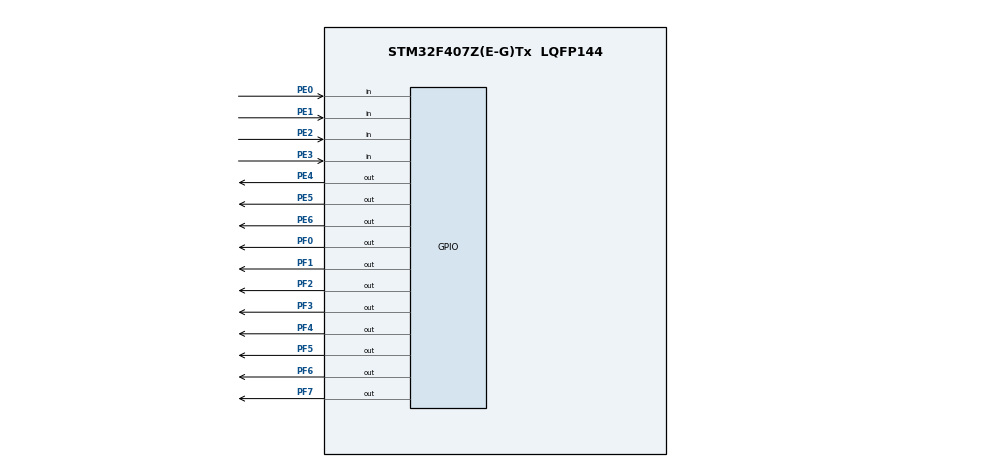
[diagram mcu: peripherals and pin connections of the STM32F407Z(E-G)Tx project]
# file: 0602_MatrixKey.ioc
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Mcu.Family=STM32F4
Mcu.Name=STM32F407Z(E-G)Tx
Mcu.Package=LQFP144
NVIC.PriorityGroup=NVIC_PRIORITYGROUP_4
PA13.Mode=Serial_Wire
PA13.Signal=SYS_JTMS-SWDIO
PA14.Mode=Serial_Wire
PA14.Signal=SYS_JTCK-SWCLK
PE0.GPIO_PuPd=GPIO_PULLUP
PE0.Signal=GPIO_Input
PE1.GPIO_PuPd=GPIO_PULLUP
PE1.Signal=GPIO_Input
PE2.GPIO_PuPd=GPIO_PULLUP
PE2.Signal=GPIO_Input
PE3.GPIO_PuPd=GPIO_PULLUP
PE3.Signal=GPIO_Input
PE4.PinState=GPIO_PIN_SET
PE4.Signal=GPIO_Output
PE5.PinState=GPIO_PIN_SET
PE5.Signal=GPIO_Output
PE6.PinState=GPIO_PIN_SET
PE6.Signal=GPIO_Output
PF0.PinState=GPIO_PIN_SET
PF0.Signal=GPIO_Output
PF1.PinState=GPIO_PIN_SET
PF1.Signal=GPIO_Output
PF2.PinState=GPIO_PIN_SET
PF2.Signal=GPIO_Output
PF3.PinState=GPIO_PIN_SET
PF3.Signal=GPIO_Output
PF4.PinState=GPIO_PIN_SET
PF4.Signal=GPIO_Output
PF5.PinState=GPIO_PIN_SET
PF5.Signal=GPIO_Output
PF6.PinState=GPIO_PIN_SET
PF6.Signal=GPIO_Output
PF7.PinState=GPIO_PIN_SET
PF7.Signal=GPIO_Output
PH0-OSC_IN.Mode=HSE-External-Oscillator
PH0-OSC_IN.Signal=RCC_OSC_IN
PH1-OSC_OUT.Mode=HSE-External-Oscillator
PH1-OSC_OUT.Signal=RCC_OSC_OUT
ProjectManager.HeapSize=0x200
ProjectManager.StackSize=0x400
ProjectManager.TargetToolchain=STM32CubeIDE
RCC.48MHZClocksFreq_Value=84000000
RCC.AHBFreq_Value=168000000
RCC.APB1CLKDivider=RCC_HCLK_DIV4
RCC.APB1Freq_Value=42000000
RCC.APB1TimFreq_Value=84000000
RCC.APB2CLKDivider=RCC_HCLK_DIV4
RCC.APB2Freq_Value=42000000
RCC.APB2TimFreq_Value=84000000
RCC.CortexFreq_Value=168000000
RCC.HCLKFreq_Value=168000000
RCC.HSE_VALUE=8000000
RCC.HSI_VALUE=16000000
RCC.LSE_VALUE=32768
RCC.PLLM=8
RCC.PLLN=336
RCC.PLLSourceVirtual=RCC_PLLSOURCE_HSE
RCC.SYSCLKFreq_VALUE=168000000
RCC.SYSCLKSource=RCC_SYSCLKSOURCE_PLLCLK
RCC.VCOOutputFreq_Value=336000000
board=custom

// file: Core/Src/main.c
/* USER CODE BEGIN Header */
/**
 ******************************************************************************
 * @file           : main.c
 * @brief          : Main program body
 ******************************************************************************
 * @attention
 *
 * Copyright (c) 2026 STMicroelectronics.
 * All rights reserved.
 *
 * This software is licensed under terms that can be found in the LICENSE file
 * in the root directory of this software component.
 * If no LICENSE file comes with this software, it is provided AS-IS.
 *
 ******************************************************************************
 */
/* USER CODE END Header */
#include "main.h"
#include "gpio.h"

void SystemClock_Config(void);

int main(void) {

	/* MCU Configuration--------------------------------------------------------*/

	/* Reset of all peripherals, Initializes the Flash interface and the Systick. */
	HAL_Init();

	/* Configure the system clock */
	SystemClock_Config();

	/* Initialize all configured peripherals */
	MX_GPIO_Init();
	/* USER CODE BEGIN 2 */
	uint8_t KeyScan(void) {
		uint8_t key = 0xFF;
		//第0行 PE4
		HAL_GPIO_WritePin(GPIOE, GPIO_PIN_4, GPIO_PIN_RESET);
		if (HAL_GPIO_ReadPin(GPIOE, GPIO_PIN_0) == GPIO_PIN_RESET) {
			HAL_Delay(20);
			if (HAL_GPIO_ReadPin(GPIOE, GPIO_PIN_0) == GPIO_PIN_RESET) {
				key = 0;
				while (HAL_GPIO_ReadPin(GPIOE, GPIO_PIN_0) == GPIO_PIN_RESET)
					;
			}
		}
		if (HAL_GPIO_ReadPin(GPIOE, GPIO_PIN_1) == GPIO_PIN_RESET) {
			HAL_Delay(20);
			if (HAL_GPIO_ReadPin(GPIOE, GPIO_PIN_1) == GPIO_PIN_RESET) {
				key = 1;
				while (HAL_GPIO_ReadPin(GPIOE, GPIO_PIN_1) == GPIO_PIN_RESET)
					;
			}
		}
		if (HAL_GPIO_ReadPin(GPIOE, GPIO_PIN_2) == GPIO_PIN_RESET) {
			HAL_Delay(20);
			if (HAL_GPIO_ReadPin(GPIOE, GPIO_PIN_2) == GPIO_PIN_RESET) {
				key = 2;
				while (HAL_GPIO_ReadPin(GPIOE, GPIO_PIN_2) == GPIO_PIN_RESET)
					;
			}
		}
		if (HAL_GPIO_ReadPin(GPIOE, GPIO_PIN_3) == GPIO_PIN_RESET) {
			HAL_Delay(20);
			if (HAL_GPIO_ReadPin(GPIOE, GPIO_PIN_3) == GPIO_PIN_RESET) {
				key = 3;
				while (HAL_GPIO_ReadPin(GPIOE, GPIO_PIN_3) == GPIO_PIN_RESET)
					;
			}
		}
		HAL_GPIO_WritePin(GPIOE, GPIO_PIN_4, GPIO_PIN_SET);

		//第1行 PE5
		HAL_GPIO_WritePin(GPIOE, GPIO_PIN_5, GPIO_PIN_RESET);
		if (HAL_GPIO_ReadPin(GPIOE, GPIO_PIN_0) == GPIO_PIN_RESET) {
			HAL_Delay(20);
			if (HAL_GPIO_ReadPin(GPIOE, GPIO_PIN_0) == GPIO_PIN_RESET) {
				key = 4;
				while (HAL_GPIO_ReadPin(GPIOE, GPIO_PIN_0) == GPIO_PIN_RESET)
					;
			}
		}
		if (HAL_GPIO_ReadPin(GPIOE, GPIO_PIN_1) == GPIO_PIN_RESET) {
			HAL_Delay(20);
			if (HAL_GPIO_ReadPin(GPIOE, GPIO_PIN_1) == GPIO_PIN_RESET) {
				key = 5;
				while (HAL_GPIO_ReadPin(GPIOE, GPIO_PIN_1) == GPIO_PIN_RESET)
					;
			}
		}
		if (HAL_GPIO_ReadPin(GPIOE, GPIO_PIN_2) == GPIO_PIN_RESET) {
			HAL_Delay(20);
			if (HAL_GPIO_ReadPin(GPIOE, GPIO_PIN_2) == GPIO_PIN_RESET) {
				key = 6;
				while (HAL_GPIO_ReadPin(GPIOE, GPIO_PIN_2) == GPIO_PIN_RESET)
					;
			}
		}
		if (HAL_GPIO_ReadPin(GPIOE, GPIO_PIN_3) == GPIO_PIN_RESET) {
			HAL_Delay(20);
			if (HAL_GPIO_ReadPin(GPIOE, GPIO_PIN_3) == GPIO_PIN_RESET) {
				key = 7;
				while (HAL_GPIO_ReadPin(GPIOE, GPIO_PIN_3) == GPIO_PIN_RESET)
					;
			}
		}
		HAL_GPIO_WritePin(GPIOE, GPIO_PIN_5, GPIO_PIN_SET);

		//第2行 PE6
		HAL_GPIO_WritePin(GPIOE, GPIO_PIN_6, GPIO_PIN_RESET);
		if (HAL_GPIO_ReadPin(GPIOE, GPIO_PIN_0) == GPIO_PIN_RESET) {
			HAL_Delay(20);
			if (HAL_GPIO_ReadPin(GPIOE, GPIO_PIN_0) == GPIO_PIN_RESET) {
				key = 8;
				while (HAL_GPIO_ReadPin(GPIOE, GPIO_PIN_0) == GPIO_PIN_RESET)
					;
			}
		}
		if (HAL_GPIO_ReadPin(GPIOE, GPIO_PIN_1) == GPIO_PIN_RESET) {
			HAL_Delay(20);
			if (HAL_GPIO_ReadPin(GPIOE, GPIO_PIN_1) == GPIO_PIN_RESET) {
				key = 9;
				while (HAL_GPIO_ReadPin(GPIOE, GPIO_PIN_1) == GPIO_PIN_RESET)
					;
			}
		}
		if (HAL_GPIO_ReadPin(GPIOE, GPIO_PIN_2) == GPIO_PIN_RESET) {
			HAL_Delay(20);
			if (HAL_GPIO_ReadPin(GPIOE, GPIO_PIN_2) == GPIO_PIN_RESET) {
				key = 10;
				while (HAL_GPIO_ReadPin(GPIOE, GPIO_PIN_2) == GPIO_PIN_RESET)
					;
			}
		}
		if (HAL_GPIO_ReadPin(GPIOE, GPIO_PIN_3) == GPIO_PIN_RESET) {
			HAL_Delay(20);
			if (HAL_GPIO_ReadPin(GPIOE, GPIO_PIN_3) == GPIO_PIN_RESET) {
				key = 11;
				while (HAL_GPIO_ReadPin(GPIOE, GPIO_PIN_3) == GPIO_PIN_RESET)
					;
			}
		}
		HAL_GPIO_WritePin(GPIOE, GPIO_PIN_6, GPIO_PIN_SET);

		return key;
	}
	uint8_t key_num;
	/* USER CODE END 2 */

	/* Infinite loop */
	/* USER CODE BEGIN WHILE */
	while (1) {
		key_num = KeyScan();
		//先全部熄灭
		HAL_GPIO_WritePin(GPIOF, GPIO_PIN_0, GPIO_PIN_SET);
		HAL_GPIO_WritePin(GPIOF, GPIO_PIN_1, GPIO_PIN_SET);
		HAL_GPIO_WritePin(GPIOF, GPIO_PIN_2, GPIO_PIN_SET);
		HAL_GPIO_WritePin(GPIOF, GPIO_PIN_3, GPIO_PIN_SET);
		HAL_GPIO_WritePin(GPIOF, GPIO_PIN_4, GPIO_PIN_SET);
		HAL_GPIO_WritePin(GPIOF, GPIO_PIN_5, GPIO_PIN_SET);
		HAL_GPIO_WritePin(GPIOF, GPIO_PIN_6, GPIO_PIN_SET);
		HAL_GPIO_WritePin(GPIOF, GPIO_PIN_7, GPIO_PIN_SET);

		if (key_num != 0xFF) {
			switch (key_num) {
			case 0:
				HAL_GPIO_WritePin(GPIOF, GPIO_PIN_0, GPIO_PIN_RESET);
				break;
			case 1:
				HAL_GPIO_WritePin(GPIOF, GPIO_PIN_1, GPIO_PIN_RESET);
				break;
			case 2:
				HAL_GPIO_WritePin(GPIOF, GPIO_PIN_2, GPIO_PIN_RESET);
				break;
			case 3:
				HAL_GPIO_WritePin(GPIOF, GPIO_PIN_3, GPIO_PIN_RESET);
				break;
			case 4:
				HAL_GPIO_WritePin(GPIOF, GPIO_PIN_4, GPIO_PIN_RESET);
				break;
			case 5:
				HAL_GPIO_WritePin(GPIOF, GPIO_PIN_5, GPIO_PIN_RESET);
				break;
			case 6:
				HAL_GPIO_WritePin(GPIOF, GPIO_PIN_6, GPIO_PIN_RESET);
				break;
			case 7:
				HAL_GPIO_WritePin(GPIOF, GPIO_PIN_7, GPIO_PIN_RESET);
				break;
			case 8:
				HAL_GPIO_WritePin(GPIOF, GPIO_PIN_0, GPIO_PIN_RESET);
				break;
			case 9:
				HAL_GPIO_WritePin(GPIOF, GPIO_PIN_1, GPIO_PIN_RESET);
				break;
			case 10:
				HAL_GPIO_WritePin(GPIOF, GPIO_PIN_2, GPIO_PIN_RESET);
				break;
			case 11:
				HAL_GPIO_WritePin(GPIOF, GPIO_PIN_3, GPIO_PIN_RESET);
				break;
			}
		}
		HAL_Delay(10);
		/* USER CODE END WHILE */

	}
}
	/**
	 * @brief System Clock Configuration
	 * @retval None
	 */
	void SystemClock_Config(void) {
		RCC_OscInitTypeDef RCC_OscInitStruct = { 0 };
		RCC_ClkInitTypeDef RCC_ClkInitStruct = { 0 };

		/** Configure the main internal regulator output voltage
		 */
		__HAL_RCC_PWR_CLK_ENABLE();
		__HAL_PWR_VOLTAGESCALING_CONFIG(PWR_REGULATOR_VOLTAGE_SCALE1);

		/** Initializes the RCC Oscillators according to the specified parameters
		 * in the RCC_OscInitTypeDef structure.
		 */
		RCC_OscInitStruct.OscillatorType = RCC_OSCILLATORTYPE_HSE;
		RCC_OscInitStruct.HSEState = RCC_HSE_ON;
		RCC_OscInitStruct.PLL.PLLState = RCC_PLL_ON;
		RCC_OscInitStruct.PLL.PLLSource = RCC_PLLSOURCE_HSE;
		RCC_OscInitStruct.PLL.PLLM = 8;
		RCC_OscInitStruct.PLL.PLLN = 336;
		RCC_OscInitStruct.PLL.PLLP = RCC_PLLP_DIV2;
		RCC_OscInitStruct.PLL.PLLQ = 4;
		if (HAL_RCC_OscConfig(&RCC_OscInitStruct) != HAL_OK) {
			Error_Handler();
		}

		/** Initializes the CPU, AHB and APB buses clocks
		 */
		RCC_ClkInitStruct.ClockType = RCC_CLOCKTYPE_HCLK | RCC_CLOCKTYPE_SYSCLK
				| RCC_CLOCKTYPE_PCLK1 | RCC_CLOCKTYPE_PCLK2;
		RCC_ClkInitStruct.SYSCLKSource = RCC_SYSCLKSOURCE_PLLCLK;
		RCC_ClkInitStruct.AHBCLKDivider = RCC_SYSCLK_DIV1;
		RCC_ClkInitStruct.APB1CLKDivider = RCC_HCLK_DIV4;
		RCC_ClkInitStruct.APB2CLKDivider = RCC_HCLK_DIV4;

		if (HAL_RCC_ClockConfig(&RCC_ClkInitStruct, FLASH_LATENCY_5)
				!= HAL_OK) {
			Error_Handler();
		}
	}

	/**
	 * @brief  This function is executed in case of error occurrence.
	 * @retval None
	 */
	void Error_Handler(void) {
		__disable_irq();
		while (1) {
		}
	}
